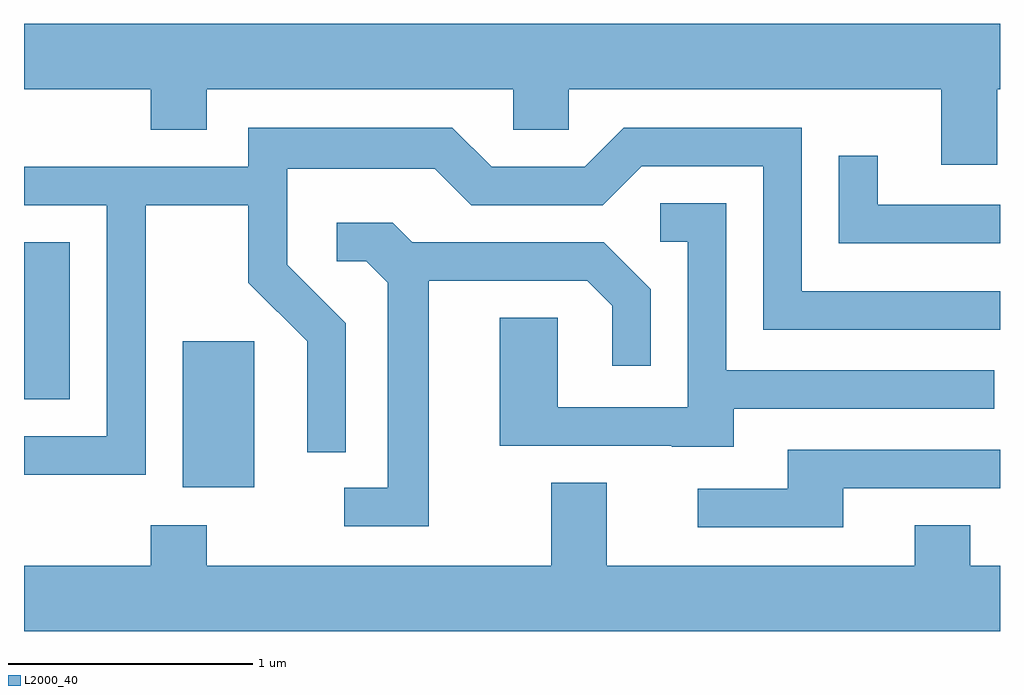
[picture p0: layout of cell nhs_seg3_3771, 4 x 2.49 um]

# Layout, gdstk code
import gdstk
lib = gdstk.Library(unit=1e-6, precision=1e-09)
def R(c, l, rs):  # rectangles x0, y0, x1, y1
    for r in rs: c.add(gdstk.rectangle(r[:2], r[2:], *l))
def P(c, l, *ps):  # polygons
    for p in ps: c.add(gdstk.Polygon(p, *l))
L2000_40 = (2000, 40)

nhs_seg3_3771 = lib.new_cell('nhs_seg3_3771')
R(nhs_seg3_3771, L2000_40, [(296.261,1179.886,296.554,1180.484), (295.611,1180.246,295.799,1180.889)])
P(nhs_seg3_3771, L2000_40, [(299.599,1181.516),(299.611,1181.516),(299.611,1181.784),(295.611,1181.784),(295.611,1181.516),(296.131,1181.516),(296.131,1181.351),(296.359,1181.351),(296.359,1181.516),(297.616,1181.516),(297.616,1181.351),(297.844,1181.351),(297.844,1181.516),(299.371,1181.516),(299.371,1181.206),(299.599,1181.206)],
  [(296.109,1181.041),(296.531,1181.041),(296.531,1180.724),(296.771,1180.484),(296.771,1180.028),(296.929,1180.028),(296.929,1180.557),(296.689,1180.797),(296.689,1181.191),(297.294,1181.191),(297.444,1181.041),(297.982,1181.041),(298.142,1181.201),(298.641,1181.201),(298.641,1180.531),(299.611,1180.531),(299.611,1180.689),(298.799,1180.689),(298.799,1181.359),(298.069,1181.359),(297.909,1181.199),(297.527,1181.199),(297.367,1181.359),(296.531,1181.359),(296.531,1181.199),(295.611,1181.199),(295.611,1181.041),(295.951,1181.041),(295.951,1180.094),(295.611,1180.094),(295.611,1179.936),(296.109,1179.936)],
  [(299.611,1181.044),(299.109,1181.044),(299.109,1181.243),(298.951,1181.243),(298.951,1180.886),(299.611,1180.886)],
  [(298.519,1180.206),(299.588,1180.206),(299.588,1180.364),(298.489,1180.364),(298.489,1181.049),(298.218,1181.049),(298.218,1180.891),(298.331,1180.891),(298.331,1180.214),(297.799,1180.214),(297.799,1180.579),(297.561,1180.579),(297.561,1180.056),(298.265,1180.056),(298.265,1180.051),(298.519,1180.051)],
  [(297.269,1180.731),(297.919,1180.731),(298.021,1180.629),(298.021,1180.383),(298.179,1180.383),(298.179,1180.697),(297.987,1180.889),(297.202,1180.889),(297.122,1180.969),(296.893,1180.969),(296.893,1180.811),(297.014,1180.811),(297.101,1180.724),(297.101,1179.884),(296.923,1179.884),(296.923,1179.726),(297.269,1179.726)],
  [(298.969,1179.881),(299.611,1179.881),(299.611,1180.039),(298.741,1180.039),(298.741,1179.879),(298.373,1179.879),(298.373,1179.721),(298.969,1179.721)],
  [(299.611,1179.564),(299.489,1179.564),(299.489,1179.729),(299.261,1179.729),(299.261,1179.564),(297.999,1179.564),(297.999,1179.904),(297.771,1179.904),(297.771,1179.564),(296.359,1179.564),(296.359,1179.729),(296.131,1179.729),(296.131,1179.564),(295.611,1179.564),(295.611,1179.296),(299.611,1179.296)])

lib.write_gds('nhs_seg3_3771.gds')
